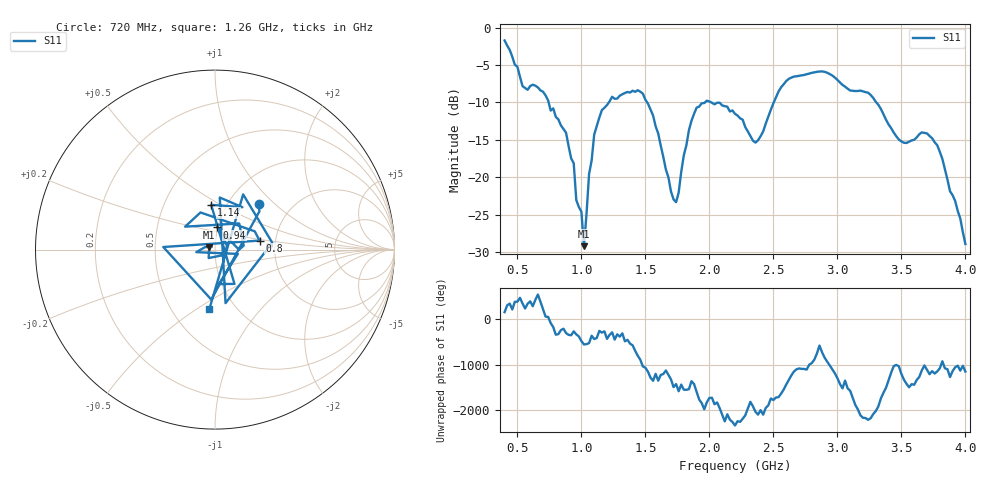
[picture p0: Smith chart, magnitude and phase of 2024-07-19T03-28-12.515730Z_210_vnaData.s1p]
!Created with skrf (http://scikit-rf.org).
# Hz S RI R 50.0
!freq ReS11 ImS11
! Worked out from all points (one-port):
!   181 points, 400 MHz to 4 GHz, reference 50 ohm
!   lowest |S11| = -29.2 dB at 1.02 GHz (marker M1), VSWR 1.07, Z = 46.9 + j1.21 ohm
!   |S11| at or under -10 dB: 744 MHz to 1.214 GHz (470.2 MHz wide, 48 % of centre); 2.016 GHz to 2.503 GHz (487 MHz wide, 21.6 % of centre); 3.304 GHz to end of sweep (the widest 3 of 4)
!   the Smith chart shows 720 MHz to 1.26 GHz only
!   S11 on the Smith chart (normalised r, x): 720 MHz: 1.37, +0.80; 800 MHz: 1.65, +0.18; 940 MHz: 0.99, +0.25; 1.14 GHz: 0.85, +0.45; 1.26 GHz: 0.75, -0.57
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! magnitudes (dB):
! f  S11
! 400 MHz  -1.7
! 540 MHz  -7.8
! 720 MHz  -9.1
! 800 MHz  -11.9
! 860 MHz  -13.6
! 940 MHz  -18.1
! 960 MHz  -23.1
! 1 GHz  -24.6
! 1.02 GHz  -29.2
! 1.06 GHz  -19.5
! 1.14 GHz  -12.0
! 1.26 GHz  -9.5
! 1.3 GHz  -9.1
! 1.48 GHz  -8.8
! 1.56 GHz  -11.7
! 1.72 GHz  -23.0
! 1.76 GHz  -22.0
! 1.84 GHz  -13.7
! 1.9 GHz  -10.7
! 2.2 GHz  -11.5
! 2.36 GHz  -15.4
! 2.66 GHz  -6.5
! 2.9 GHz  -5.9
! 3.1 GHz  -8.4
! 3.24 GHz  -8.7
! 3.56 GHz  -15.2
! 3.78 GHz  -15.7
! 4 GHz  -28.9
